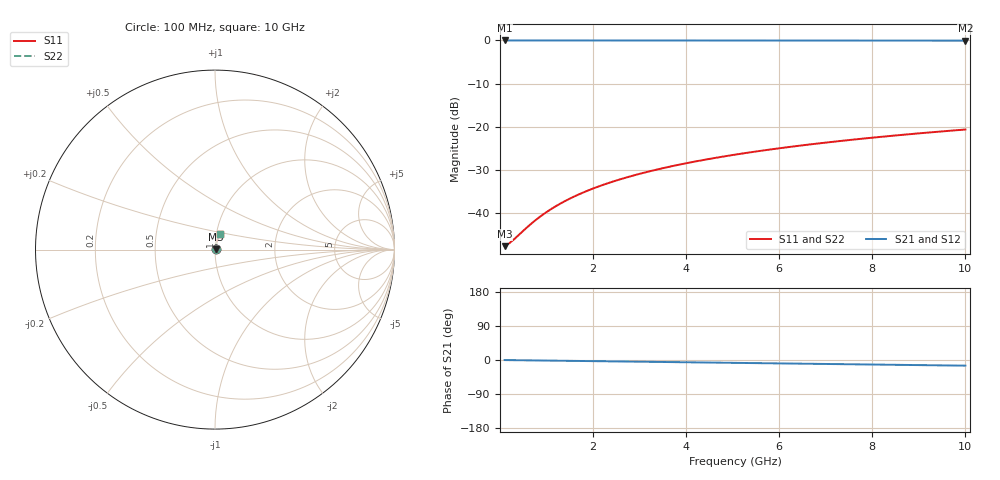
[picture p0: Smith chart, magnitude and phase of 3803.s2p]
# Hz S RI R 50.00
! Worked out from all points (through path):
!   100 points, 100 MHz to 10 GHz, reference 50 ohm
!   highest |S21| = -0.04 dB at 100 MHz (marker M1); lowest = -0.1 dB at 10 GHz (marker M2)
!   group delay of S21, straight-line fit = 4.15 ps
!   lowest |S11| = -47.6 dB at 100 MHz (marker M3), VSWR 1.01, Z = 50.4 + j0.0938 ohm
!   |S11| at or under -10 dB: start of sweep to end of sweep
!   |S22| runs from -47.6 to -20.6 dB; largest |S21 - S12| = 0
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1e8  0.00404 0.00093  0.996 -0.0026  0.996 -0.0026  0.00404 0.00093
2e8  0.00408 0.00186  0.9959 -0.0052  0.9959 -0.0052  0.00408 0.00186
3e8  0.00411 0.00279  0.9959 -0.0078  0.9959 -0.0078  0.00411 0.00279
6e8  0.00421 0.00558  0.9957 -0.0156  0.9957 -0.0156  0.00421 0.00558
7e8  0.00425 0.00651  0.9957 -0.0182  0.9957 -0.0182  0.00425 0.00651
8e8  0.0043 0.00744  0.9956 -0.0208  0.9956 -0.0208  0.0043 0.00744
1e9  0.00441 0.00929  0.9954 -0.026  0.9954 -0.026  0.00441 0.00929
1.2e9  0.00453 0.0111  0.9953 -0.0312  0.9953 -0.0312  0.00453 0.0111
1.4e9  0.00467 0.013  0.995 -0.0364  0.995 -0.0364  0.00467 0.013
1.6e9  0.00482 0.0149  0.9948 -0.0416  0.9948 -0.0416  0.00482 0.0149
1.8e9  0.005 0.0167  0.9945 -0.0468  0.9945 -0.0468  0.005 0.0167
2.1e9  0.0053 0.0195  0.994 -0.0546  0.994 -0.0546  0.0053 0.0195
2.5e9  0.00576 0.0232  0.9933 -0.065  0.9933 -0.065  0.00576 0.0232
2.9e9  0.00631 0.0268  0.9925 -0.0753  0.9925 -0.0753  0.00631 0.0268
3.4e9  0.00709 0.0314  0.9912 -0.0883  0.9912 -0.0883  0.00709 0.0314
4.2e9  0.00858 0.0387  0.9889 -0.1089  0.9889 -0.1089  0.00858 0.0387
5.1e9  0.0106 0.0468  0.9856 -0.132  0.9856 -0.132  0.0106 0.0468
5.9e9  0.0128 0.0539  0.9823 -0.1525  0.9823 -0.1525  0.0128 0.0539
6.7e9  0.0152 0.0609  0.9784 -0.1729  0.9784 -0.1729  0.0152 0.0609
7.5e9  0.0179 0.0678  0.9741 -0.1931  0.9741 -0.1931  0.0179 0.0678
8.4e9  0.0213 0.0754  0.9687 -0.2158  0.9687 -0.2158  0.0213 0.0754
1e10  0.0282 0.0884  0.9576 -0.2555  0.9576 -0.2555  0.0282 0.0884
